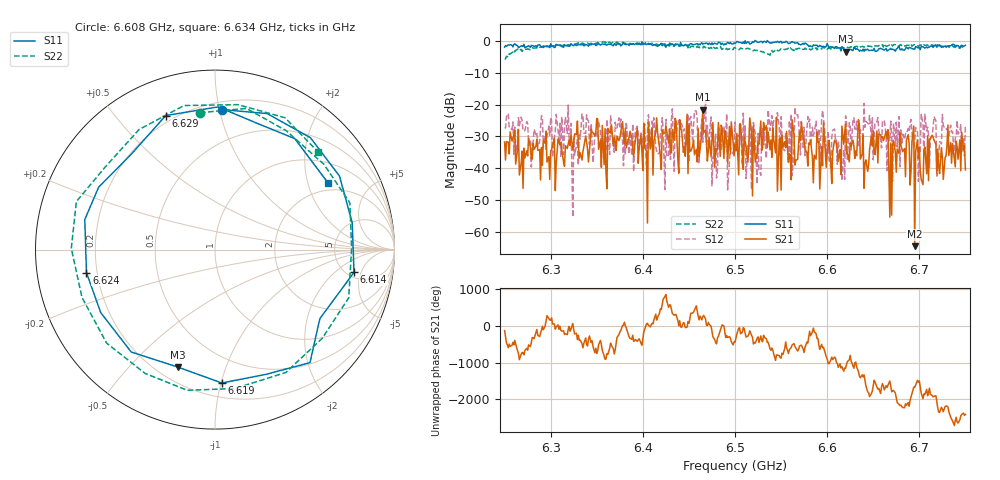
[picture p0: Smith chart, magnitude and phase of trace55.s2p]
# Hz S RI R 50
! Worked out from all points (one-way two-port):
!   401 points, 6.25 GHz to 6.75 GHz, reference 50 ohm
!   highest |S21| = -21.61 dB at 6.465 GHz (marker M1); lowest = -64.6 dB at 6.695 GHz (marker M2)
!   lowest |S11| = -3.3 dB at 6.62 GHz (marker M3), VSWR 5.38, Z = 14.1 - j34.8 ohm
!   |S11| at or under -10 dB: nowhere
!   |S22| runs from -5.6 to -0.2 dB; largest |S21 - S12| = 0.11
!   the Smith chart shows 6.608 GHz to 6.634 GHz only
!   S11 on the Smith chart (normalised r, x): 6.608 GHz: 0.25, +1.02; 6.614 GHz: 5.74, -3.78; 6.619 GHz: 0.30, -1.01; 6.624 GHz: 0.16, -0.09; 6.629 GHz: 0.17, +0.68; 6.634 GHz: 1.69, +2.70
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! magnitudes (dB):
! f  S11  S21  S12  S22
! 6.25 GHz  -1.9  -31.8  -27.3  -5.6
! 6.318 GHz  -1.4  -33.8  -29.1  -1.3
! 6.326 GHz  -1.0  -29.2  -35.9  -1.0
! 6.334 GHz  -1.2  -37.5  -23.0  -0.6
! 6.349 GHz  -1.4  -28.6  -29.3  -0.6
! 6.418 GHz  -1.2  -33.5  -35.2  -1.3
! 6.465 GHz  -1.0  -21.6  -31.9  -2.2
! 6.478 GHz  -0.6  -39.7  -33.3  -2.2
! 6.5 GHz  -0.7  -32.5  -25.5  -2.0
! 6.584 GHz  -1.8  -36.6  -27.1  -2.4
! 6.608 GHz  -2.1  -31.2  -27.7  -2.3
! 6.614 GHz  -2.1  -34.2  -35.9  -2.4
! 6.619 GHz  -2.6  -29.0  -43.6  -2.1
! 6.62 GHz  -3.3  -26.2  -23.5  -1.9
! 6.624 GHz  -2.8  -38.0  -25.7  -2.1
! 6.629 GHz  -2.0  -33.1  -24.1  -2.0
! 6.634 GHz  -2.7  -24.8  -32.9  -2.0
! 6.642 GHz  -2.8  -37.4  -25.2  -1.5
! 6.664 GHz  -2.3  -28.4  -29.8  -1.6
! 6.668 GHz  -2.6  -55.5  -31.4  -1.2
! 6.695 GHz  -2.5  -64.6  -31.8  -1.1
! 6.75 GHz  -1.3  -40.6  -26.5  -2.2
